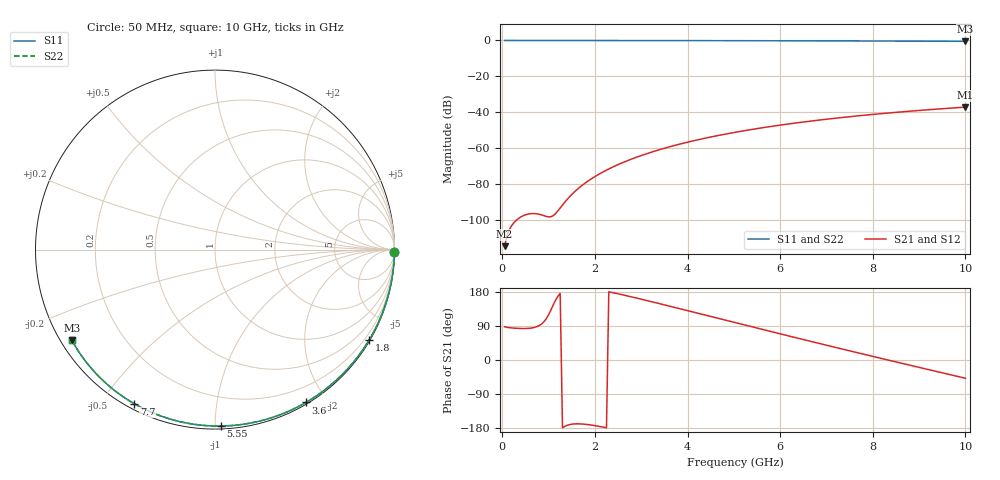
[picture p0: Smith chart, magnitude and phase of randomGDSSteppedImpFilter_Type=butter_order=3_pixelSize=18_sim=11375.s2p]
! freq	dB(S11)	phase(S11)	dB(S12)	phase(S12)
!  dB(S21)	phase(S21)	dB(S22)	phase(S22)
!S-par simulation data
#  GHz  S  DB  R 50
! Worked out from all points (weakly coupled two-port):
!   200 points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, 50 MHz to 10 GHz, reference 50 ohm
!   highest |S21| = -37.23 dB at 10 GHz (marker M1); lowest = -114.9 dB at 50 MHz (marker M2)
!   lowest |S11| = -0.5 dB at 10 GHz (marker M3), VSWR 34.89, Z = 1.55 - j14.5 ohm
!   |S11| at or under -10 dB: nowhere
!   |S22| runs from -0.5 to 0.0 dB; largest |S21 - S12| = 0
!   S11 on the Smith chart (normalised r, x): 50 MHz: open; 1.8 GHz: 0.03, -3.68; 3.6 GHz: 0.02, -1.76; 5.55 GHz: 0.02, -1.03; 7.7 GHz: 0.02, -0.61; 10 GHz: 0.03, -0.29
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0.05  -0.00 -0.9  -114.85 87.8  -114.85 87.8  -0.00 -0.9
0.45  -0.01 -7.7  -97.88 83.0  -97.88 83.0  -0.01 -7.7
0.9  -0.02 -15.4  -97.83 101.1  -97.83 101.1  -0.02 -15.4
1.3  -0.03 -22.1  -91.86 -179.0  -91.86 -179.0  -0.03 -22.1
1.75  -0.04 -29.6  -80.37 -169.2  -80.37 -169.2  -0.04 -29.6
1.8  -0.04 -30.4  -79.41 -169.8  -79.41 -169.8  -0.04 -30.4
1.95  -0.04 -32.9  -76.79 -172.2  -76.79 -172.2  -0.04 -32.9
2.1  -0.05 -35.3  -74.48 -175.2  -74.48 -175.2  -0.05 -35.3
2.3  -0.05 -38.6  -71.74 180.0  -71.74 180.0  -0.05 -38.6
2.5  -0.05 -41.8  -69.31 174.7  -69.31 174.7  -0.05 -41.8
2.9  -0.06 -48.3  -65.17 163.4  -65.17 163.4  -0.06 -48.2
3.4  -0.07 -56.1  -60.93 148.6  -60.93 148.6  -0.07 -56.1
3.6  -0.08 -59.2  -59.45 142.5  -59.45 142.5  -0.08 -59.2
4.3  -0.10 -69.9  -55.01 121.1  -55.01 121.1  -0.10 -69.9
5.05  -0.12 -81.0  -51.17 98.0  -51.17 98.0  -0.12 -81.0
5.55  -0.14 -88.2  -49.01 82.8  -49.01 82.8  -0.14 -88.2
6.1  -0.17 -95.9  -46.91 66.0  -46.91 66.0  -0.17 -95.9
6.7  -0.20 -104.2  -44.89 48.0  -44.89 48.0  -0.20 -104.2
7.7  -0.27 -117.6  -42.05 18.3  -42.05 18.3  -0.27 -117.6
8.35  -0.32 -126.1  -40.47 -0.7  -40.47 -0.7  -0.32 -126.1
9.2  -0.41 -137.2  -38.68 -25.2  -38.68 -25.2  -0.41 -137.2
10  -0.50 -147.6  -37.23 -48.1  -37.23 -48.1  -0.50 -147.6
